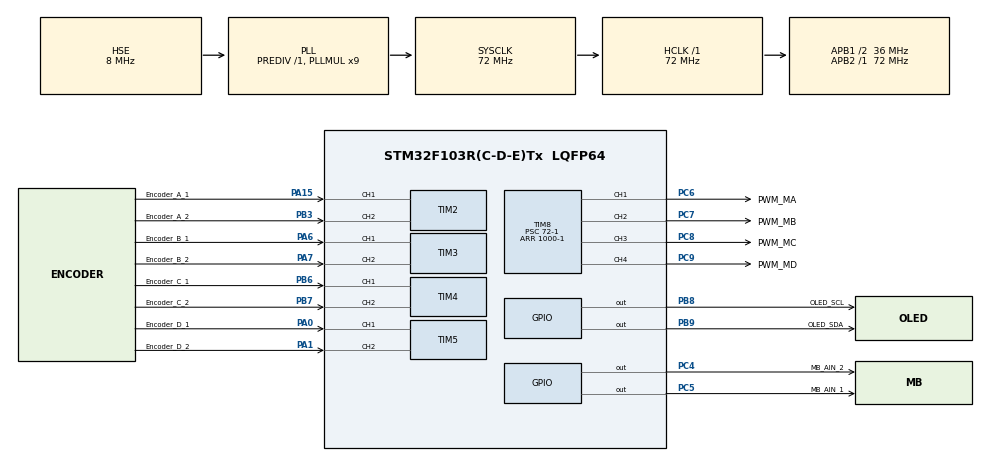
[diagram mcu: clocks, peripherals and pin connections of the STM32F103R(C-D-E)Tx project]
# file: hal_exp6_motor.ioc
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Mcu.Family=STM32F1
Mcu.Name=STM32F103R(C-D-E)Tx
Mcu.Package=LQFP64
NVIC.PriorityGroup=NVIC_PRIORITYGROUP_4
PA0-WKUP.GPIO_Label=Encoder_D_1
PA0-WKUP.GPIO_PuPd=GPIO_PULLUP
PA0-WKUP.Signal=S_TIM5_CH1
PA1.GPIO_Label=Encoder_D_2
PA1.GPIO_PuPd=GPIO_PULLUP
PA1.Signal=S_TIM5_CH2
PA13.Mode=Serial_Wire
PA13.Signal=SYS_JTMS-SWDIO
PA14.Mode=Serial_Wire
PA14.Signal=SYS_JTCK-SWCLK
PA15.GPIO_Label=Encoder_A_1
PA15.GPIO_PuPd=GPIO_PULLUP
PA15.Signal=S_TIM2_CH1_ETR
PA6.GPIO_Label=Encoder_B_1
PA6.GPIO_PuPd=GPIO_PULLUP
PA6.Signal=S_TIM3_CH1
PA7.GPIO_Label=Encoder_B_2
PA7.GPIO_PuPd=GPIO_PULLUP
PA7.Signal=S_TIM3_CH2
PB3.GPIO_Label=Encoder_A_2
PB3.GPIO_PuPd=GPIO_PULLUP
PB3.Signal=S_TIM2_CH2
PB6.GPIO_Label=Encoder_C_1
PB6.GPIO_PuPd=GPIO_PULLUP
PB6.Signal=S_TIM4_CH1
PB7.GPIO_Label=Encoder_C_2
PB7.GPIO_PuPd=GPIO_PULLUP
PB7.Signal=S_TIM4_CH2
PB8.GPIO_Label=OLED_SCL
PB8.Signal=GPIO_Output
PB9.GPIO_Label=OLED_SDA
PB9.Signal=GPIO_Output
PC4.GPIO_Label=MB_AIN_2
PC4.Signal=GPIO_Output
PC5.GPIO_Label=MB_AIN_1
PC5.Signal=GPIO_Output
PC6.GPIO_Label=PWM_MA
PC6.GPIO_ModeDefaultPP=GPIO_MODE_AF_PP
PC6.GPIO_Speed=GPIO_SPEED_FREQ_LOW
PC6.Signal=S_TIM8_CH1
PC7.GPIO_Label=PWM_MB
PC7.GPIO_ModeDefaultPP=GPIO_MODE_AF_PP
PC7.GPIO_Speed=GPIO_SPEED_FREQ_LOW
PC7.Signal=S_TIM8_CH2
PC8.GPIO_Label=PWM_MC
PC8.GPIO_ModeDefaultPP=GPIO_MODE_AF_PP
PC8.GPIO_Speed=GPIO_SPEED_FREQ_LOW
PC8.Signal=S_TIM8_CH3
PC9.GPIO_Label=PWM_MD
PC9.GPIO_ModeDefaultPP=GPIO_MODE_AF_PP
PC9.GPIO_Speed=GPIO_SPEED_FREQ_LOW
PC9.Signal=S_TIM8_CH4
PD0-OSC_IN.Mode=HSE-External-Oscillator
PD0-OSC_IN.Signal=RCC_OSC_IN
PD1-OSC_OUT.Mode=HSE-External-Oscillator
PD1-OSC_OUT.Signal=RCC_OSC_OUT
ProjectManager.HeapSize=0x200
ProjectManager.StackSize=0x400
ProjectManager.TargetToolchain=MDK-ARM V5.32
RCC.AHBFreq_Value=72000000
RCC.APB1CLKDivider=RCC_HCLK_DIV2
RCC.APB1Freq_Value=36000000
RCC.APB1TimFreq_Value=72000000
RCC.APB2Freq_Value=72000000
RCC.APB2TimFreq_Value=72000000
RCC.HCLKFreq_Value=72000000
RCC.PLLMUL=RCC_PLL_MUL9
RCC.PLLSourceVirtual=RCC_PLLSOURCE_HSE
RCC.SYSCLKFreq_VALUE=72000000
RCC.SYSCLKSource=RCC_SYSCLKSOURCE_PLLCLK
RCC.USBFreq_Value=72000000
SH.S_TIM2_CH1_ETR.0=TIM2_CH1,Encoder_Interface
SH.S_TIM2_CH2.0=TIM2_CH2,Encoder_Interface
SH.S_TIM3_CH1.0=TIM3_CH1,Encoder_Interface
SH.S_TIM3_CH2.0=TIM3_CH2,Encoder_Interface
SH.S_TIM4_CH1.0=TIM4_CH1,Encoder_Interface
SH.S_TIM4_CH2.0=TIM4_CH2,Encoder_Interface
SH.S_TIM5_CH1.0=TIM5_CH1,Encoder_Interface
SH.S_TIM5_CH2.0=TIM5_CH2,Encoder_Interface
SH.S_TIM8_CH1.0=TIM8_CH1,PWM Generation1 CH1
SH.S_TIM8_CH2.0=TIM8_CH2,PWM Generation2 CH2
SH.S_TIM8_CH3.0=TIM8_CH3,PWM Generation3 CH3
SH.S_TIM8_CH4.0=TIM8_CH4,PWM Generation4 CH4
TIM2.EncoderMode=TIM_ENCODERMODE_TI12
TIM2.IC1Filter=6
TIM2.IC2Filter=6
TIM3.EncoderMode=TIM_ENCODERMODE_TI12
TIM3.IC1Filter=6
TIM3.IC2Filter=6
TIM4.EncoderMode=TIM_ENCODERMODE_TI12
TIM4.IC1Filter=6
TIM4.IC2Filter=6
TIM5.EncoderMode=TIM_ENCODERMODE_TI12
TIM5.IC1Filter=6
TIM5.IC2Filter=6
TIM8.Channel-PWM\ Generation1\ CH1=TIM_CHANNEL_1
TIM8.Channel-PWM\ Generation2\ CH2=TIM_CHANNEL_2
TIM8.Channel-PWM\ Generation3\ CH3=TIM_CHANNEL_3
TIM8.Channel-PWM\ Generation4\ CH4=TIM_CHANNEL_4
TIM8.Period=1000-1
TIM8.Prescaler=72-1
board=custom

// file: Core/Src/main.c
/* USER CODE BEGIN Header */
/**
  ******************************************************************************
  * @file           : main.c
  * @brief          : Main program body
  ******************************************************************************
  * @attention
  *
  * Copyright (c) 2023 STMicroelectronics.
  * All rights reserved.
  *
  * This software is licensed under terms that can be found in the LICENSE file
  * in the root directory of this software component.
  * If no LICENSE file comes with this software, it is provided AS-IS.
  *
  ******************************************************************************
  */
/* USER CODE END Header */
#include "main.h"
#include "tim.h"
#include "gpio.h"
#include "oled.h"

void SystemClock_Config(void);
/* USER CODE BEGIN PFP */
/**************************************************************************
函数功能：OLED显示
入口参数：无
返回  值：�?
**************************************************************************/
void OLED_ShowInt(u8 x,u8 y,long int num,u8 len)
{
	if(num < 0)
	{
		num *= -1;
		OLED_ShowString(x, y, "-",12,1);
	}
	else
	{
		OLED_ShowString(x, y, "+",12,1);
	}
	OLED_ShowNum(x + 15, y ,num, len, 12, 1);
}

void oled_show(float Pitch, float Roll, float Yaw, int Encoder_A, int Encoder_B, int Encoder_C, int Encoder_D, int Voltage)
{
  long int Target_A = 6, Target_B = 6, Target_C = 6, Target_D = 6;	//电机目标�?

  //=============�?1行显�?3轴角�?===============//
	OLED_ShowString(0,0,"X:",12,1);
	if(Pitch<0)		OLED_ShowNum(15,0,Pitch+360,3,12,1);
	else			OLED_ShowNum(15,0,Pitch,3,12,1);
	OLED_ShowString(40,0,"Y:",12,1);
	if(Roll<0)		OLED_ShowNum(55,0,Roll+360,3,12,1);
	else			OLED_ShowNum(55,0,Roll,3,1,1);
	OLED_ShowString(80,0,"Z:",12,1);
	if(Yaw<0)		OLED_ShowNum(95,0,Yaw+360,3,12,1);
	else			OLED_ShowNum(95,0,Yaw,3,12,1);

	//=============显示电机状�??=======================//
	OLED_ShowInt(0,  10, Target_A, 5);
	OLED_ShowInt(80, 10, Encoder_A, 5);
	OLED_ShowInt(0,  20, Target_B, 5);
	OLED_ShowInt(80, 20, Encoder_B, 5);
	OLED_ShowInt(0,  30, Target_C, 5);
	OLED_ShowInt(80, 30, Encoder_C, 5);
	OLED_ShowInt(0,  40, Target_D, 5);
	OLED_ShowInt(80, 40, Encoder_D, 5);

	//=============显示电压=======================//
	OLED_ShowString(00,50,"VELOCITY",12,1);
	OLED_ShowString(88,50,".",12,1);
	OLED_ShowString(110,50,"V",12,1);
	OLED_ShowNum(75,50,Voltage/100,2,12,1);
	OLED_ShowNum(98,50,Voltage%100,2,12,1);
	if(Voltage%100<10) 	OLED_ShowNum(92,50,0,2,12,1);
}
/* USER CODE END PFP */
short Get_Encoder_C(void)
{
  int Encoder_C_speed;
  Encoder_C_speed = (short)__HAL_TIM_GET_COUNTER(&htim4);
  __HAL_TIM_SET_COUNTER(&htim4, 0);
  return Encoder_C_speed;
}

int main(void)
{

  /* MCU Configuration--------------------------------------------------------*/

  /* Reset of all peripherals, Initializes the Flash interface and the Systick. */
  HAL_Init();

  /* Configure the system clock */
  SystemClock_Config();

  /* Initialize all configured peripherals */
  MX_GPIO_Init();
  MX_TIM3_Init();
  MX_TIM2_Init();
  MX_TIM4_Init();
  MX_TIM5_Init();
  MX_TIM8_Init();

  /* Infinite loop */
  /* USER CODE BEGIN WHILE */

  int Voltage=780;										//电池电压采样相关的变�?
  float Pitch, Roll, Yaw;		//三轴角度和XYZ轴目标�?�度
  HAL_TIM_Encoder_Start(&htim2, TIM_CHANNEL_ALL);
  HAL_TIM_Encoder_Start(&htim3, TIM_CHANNEL_ALL);
  HAL_TIM_Encoder_Start(&htim4, TIM_CHANNEL_ALL);
  HAL_TIM_Encoder_Start(&htim5, TIM_CHANNEL_ALL);
  HAL_TIM_PWM_Start(&htim8, TIM_CHANNEL_2);//?pwm??

  // HAL_TIM_PWM_Start(&htim3,TIM_CHANNEL_1);
  // HAL_TIM_PWM_Start(&htim3,TIM_CHANNEL_2);
  // HAL_TIM_PWM_Start(&htim3,TIM_CHANNEL_3);
  // HAL_TIM_PWM_Start(&htim3,TIM_CHANNEL_4);
  // __HAL_TIM_SET_COUNTER(&htim3,0);
  // HAL_TIM_Base_Start_IT(&htim3);
//�?启TIM3的编码器模式，用于读取正交编码器
	OLED_Init();
  OLED_ColorTurn(0);
  OLED_DisplayTurn(0);
  // oled_show(Pitch, Roll, Yaw, 10, 10, 10, 10, Voltage);
  OLED_Refresh();
  int Encoder_A=0, Encoder_B=0, Encoder_C=0, Encoder_D=0;
  int pwm_c=0;
  while (1)
  {
    // int NUM = GetLeftEncoder();
    Encoder_A = (short)__HAL_TIM_GET_COUNTER(&htim2);
    Encoder_B = (short)__HAL_TIM_GET_COUNTER(&htim3);
    Encoder_C = Get_Encoder_C(); // (short)__HAL_TIM_GET_COUNTER(&htim4);
    Encoder_D = (short)__HAL_TIM_GET_COUNTER(&htim5);

    u8 xa=0, ya=0;
    xa = Encoder_A/4+64;
    ya = Encoder_B/4+32;
    // OLED_DrawPoint(xa, ya, 1);
    // OLED_DrawPoint(xa+1, ya+1, 1);
    // OLED_DrawPoint(xa+1, ya+1, 1);
    OLED_Refresh();
    HAL_GPIO_WritePin(MB_AIN_1_GPIO_Port,MB_AIN_1_Pin,GPIO_PIN_RESET);
		HAL_GPIO_WritePin(MB_AIN_2_GPIO_Port,MB_AIN_2_Pin,GPIO_PIN_SET);

    if(Encoder_C<30) pwm_c+=2*(30-Encoder_C);
    else pwm_c-=2*(Encoder_C-30);
    if (pwm_c<0) pwm_c=0;
    if (pwm_c>1000) pwm_c=1000;
		__HAL_TIM_SET_COMPARE(&htim8, TIM_CHANNEL_2, pwm_c);
        oled_show(Pitch, Roll, Yaw, Encoder_A, Encoder_B, Encoder_C, pwm_c, Voltage);
    /* USER CODE END WHILE */

  }
}

void SystemClock_Config(void)
{
  RCC_OscInitTypeDef RCC_OscInitStruct = {0};
  RCC_ClkInitTypeDef RCC_ClkInitStruct = {0};

  /** Initializes the RCC Oscillators according to the specified parameters
  * in the RCC_OscInitTypeDef structure.
  */
  RCC_OscInitStruct.OscillatorType = RCC_OSCILLATORTYPE_HSE;
  RCC_OscInitStruct.HSEState = RCC_HSE_ON;
  RCC_OscInitStruct.HSEPredivValue = RCC_HSE_PREDIV_DIV1;
  RCC_OscInitStruct.HSIState = RCC_HSI_ON;
  RCC_OscInitStruct.PLL.PLLState = RCC_PLL_ON;
  RCC_OscInitStruct.PLL.PLLSource = RCC_PLLSOURCE_HSE;
  RCC_OscInitStruct.PLL.PLLMUL = RCC_PLL_MUL9;
  if (HAL_RCC_OscConfig(&RCC_OscInitStruct) != HAL_OK)
  {
    Error_Handler();
  }

  /** Initializes the CPU, AHB and APB buses clocks
  */
  RCC_ClkInitStruct.ClockType = RCC_CLOCKTYPE_HCLK|RCC_CLOCKTYPE_SYSCLK
                              |RCC_CLOCKTYPE_PCLK1|RCC_CLOCKTYPE_PCLK2;
  RCC_ClkInitStruct.SYSCLKSource = RCC_SYSCLKSOURCE_PLLCLK;
  RCC_ClkInitStruct.AHBCLKDivider = RCC_SYSCLK_DIV1;
  RCC_ClkInitStruct.APB1CLKDivider = RCC_HCLK_DIV2;
  RCC_ClkInitStruct.APB2CLKDivider = RCC_HCLK_DIV1;

  if (HAL_RCC_ClockConfig(&RCC_ClkInitStruct, FLASH_LATENCY_2) != HAL_OK)
  {
    Error_Handler();
  }
}

void Error_Handler(void)
{
  __disable_irq();
  while (1)
  {
  }
}
